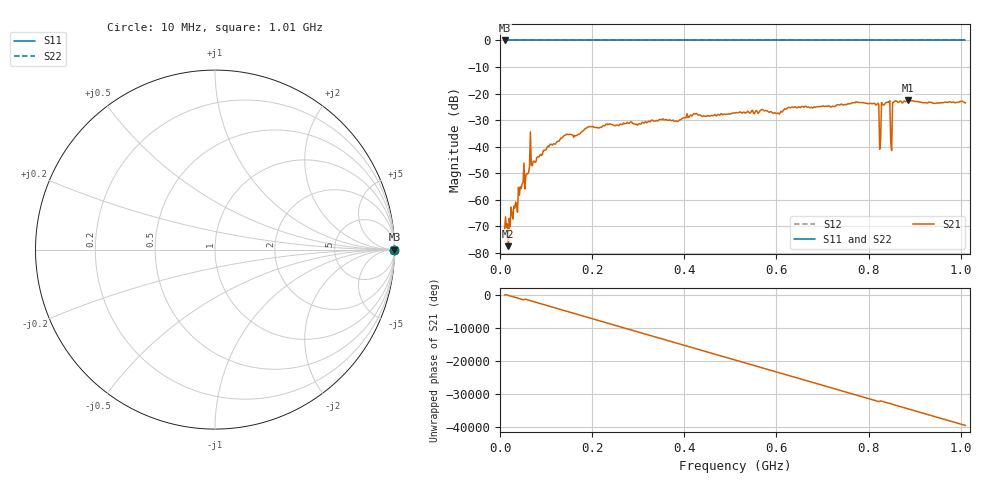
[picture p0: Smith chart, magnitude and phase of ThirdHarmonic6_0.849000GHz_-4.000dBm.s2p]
! 8/16/2025 4:06:15 AM
! C:\ANRITSUVNA\TEMP\TEMP.S2P
! CHANNEL.1
! TR.MEASUREMENT
! RAW.DATA
! RF.CORRECTION.OFF
! AVERAGING.OFF
! IF.BANDWIDTH: 5KHZ
! SWEEPTYPE:  FREQ.SWEEP(Linear)
! Reference Plane Port Info
! PORT:  PORT1  PORT2
! DISTANCE:  0  m  0  m
! TIME:  0  s  0  s
! PHASE.OFFSET:  0  deg.  0  deg.
! LOSS:  0  dB  0  dB
! REF.LOSS:  0  dB  0  dB
! REF.FREQ:  0  Hz  0  Hz
! Power Info
! POWER:  -20  dBm  -20  dBm
! EFF.POWER:  -20  dBm  -20  dBm
! SOURCE.ATTEN:  0  dB  0  dB
! TEST.ATTEN:  0  dB  0  dB
# GHZ S RI R 50.0
! FREQ.GHZ  S11RE  S11IM  S21RE  S21IM  S12RE  S12IM  S22RE  S22IM
!; PortSelection: Port_12
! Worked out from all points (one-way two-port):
!   501 points, 10 MHz to 1.01 GHz, reference 50 ohm
!   highest |S21| = -22.55 dB at 886 MHz (marker M1); lowest = -77.5 dB at 18 MHz (marker M2)
!   lowest |S11| = 0.0 dB at 10 MHz (marker M3)
!   |S11| at or under -10 dB: nowhere
!   |S22| runs from 0.0 to 0.0 dB; largest |S21 - S12| = 1.1
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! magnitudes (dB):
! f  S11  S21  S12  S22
! 10 MHz  0.0  -71.4  0.0  0.0
! 18 MHz  0.0  -77.5  0.0  0.0
! 48 MHz  0.0  -54.1  0.0  0.0
! 58 MHz  0.0  -50.1  0.0  0.0
! 68 MHz  0.0  -47.1  0.0  0.0
! 72 MHz  0.0  -45.6  0.0  0.0
! 140 MHz  0.0  -35.7  0.0  0.0
! 178 MHz  0.0  -34.3  0.0  0.0
! 344 MHz  0.0  -30.2  0.0  0.0
! 510 MHz  0.0  -27.3  0.0  0.0
! 678 MHz  0.0  -25.5  0.0  0.0
! 816 MHz  0.0  -24.4  0.0  0.0
! 822 MHz  0.0  -24.1  0.0  0.0
! 828 MHz  0.0  -23.4  0.0  0.0
! 832 MHz  0.0  -24.4  0.0  0.0
! 842 MHz  0.0  -23.2  0.0  0.0
! 844 MHz  0.0  -23.4  0.0  0.0
! 846 MHz  0.0  -22.8  0.0  0.0
! 852 MHz  0.0  -23.4  0.0  0.0
! 856 MHz  0.0  -22.9  0.0  0.0
! 886 MHz  0.0  -22.6  0.0  0.0
! 1.01 GHz  0.0  -23.6  0.0  0.0
